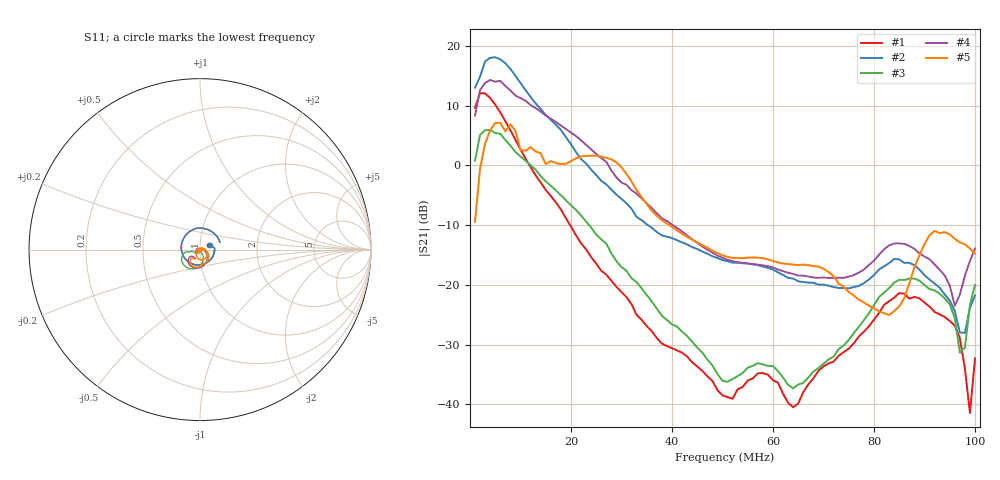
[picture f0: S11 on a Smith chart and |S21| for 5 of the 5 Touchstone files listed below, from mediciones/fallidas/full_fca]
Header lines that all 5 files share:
# HZ S RI R 50
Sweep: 1 MHz to 100 MHz
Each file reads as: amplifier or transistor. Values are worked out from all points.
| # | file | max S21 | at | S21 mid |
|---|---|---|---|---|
| 1 | full_0t_pdb_tia_ltc.s2p | 12.1 dB | 2 MHz | -38.8 dB at 51 MHz |
| 2 | full_0t_sfh_tia_ltc.s2p | 18.1 dB | 5 MHz | -16.0 dB at 51 MHz |
| 3 | full_1t_pdb_tia_ltc.s2p | 5.9 dB | 4 MHz | -36.2 dB at 51 MHz |
| 4 | full_1t_sfh_tia_ltc.s2p | 14.3 dB | 4 MHz | -15.8 dB at 51 MHz |
| 5 | full_2t_sfh_tia_ltc.s2p | 7.1 dB | 6 MHz | -15.3 dB at 51 MHz |
